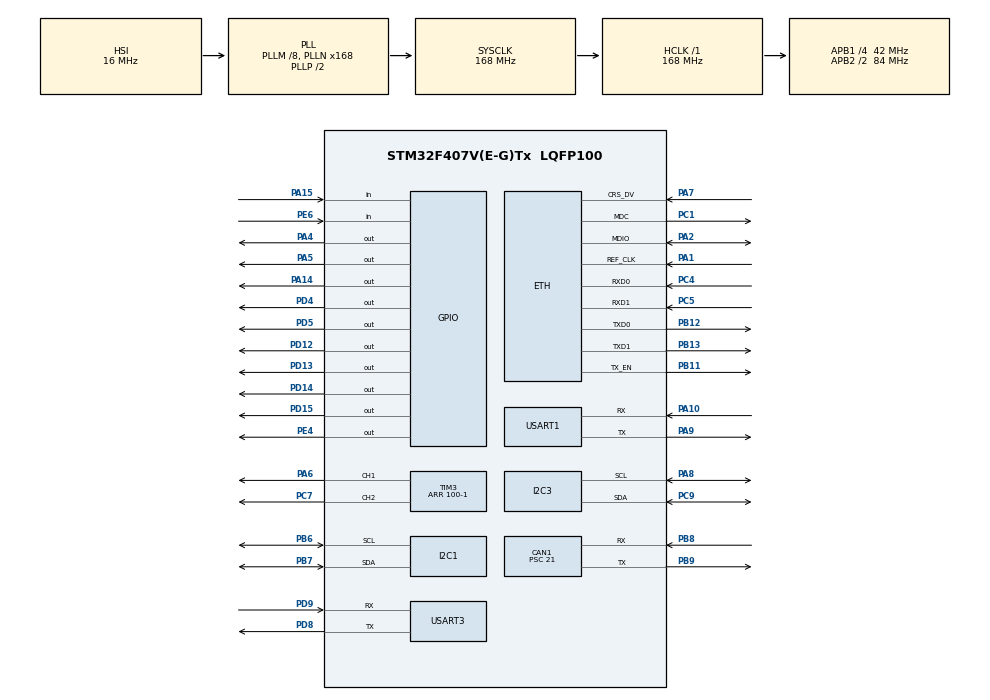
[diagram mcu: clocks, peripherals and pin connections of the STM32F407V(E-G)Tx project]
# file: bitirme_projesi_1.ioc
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CAN1.BS1=CAN_BS1_10TQ
CAN1.BS2=CAN_BS2_5TQ
CAN1.CalculateTimeQuantum=500.0
CAN1.Prescaler=21
ETH.MediaInterface=ETH_MEDIA_INTERFACE_RMII
FREERTOS.Tasks01=bmp180Task,0,128,bmp180_handlerTask,Default,NULL,Dynamic,NULL,NULL;hcsr04task,0,128,hcsr04_handlertask,Default,NULL,Dynamic,NULL,NULL;hcsr501task,-3,128,hcsr501handler_task,Default,NULL,Dynamic,NULL,NULL;dht11task,-3,128,dht11_handlertask,Default,NULL,Dynamic,NULL,NULL;dcmotor1task,-3,128,dcmotor1_handlertask,Default,NULL,Dynamic,NULL,NULL;dcmotor2task,-3,128,dcmotor2_handlertask,Default,NULL,Dynamic,NULL,NULL;nextionsenddata,-3,128,nextionsenddata_handlertask,Default,NULL,Dynamic,NULL,NULL;mpu6050task,-3,128,mpu6050_handlertask,Default,NULL,Dynamic,NULL,NULL;usbttl_tx_rx,-3,128,usbt_tx_rx_handlertask,Default,NULL,Dynamic,NULL,NULL;canbussendatata,-3,128,canbussendata_handlertask,Default,NULL,Dynamic,NULL,NULL;ethernet,-3,128,ethernet_handler,Default,NULL,Dynamic,NULL,NULL
LWIP.Version=v2.1.2_Cube
Mcu.Family=STM32F4
Mcu.Name=STM32F407V(E-G)Tx
Mcu.Package=LQFP100
NVIC.CAN1_RX0_IRQn=true\:5\:0\:false\:false\:true\:true\:true\:true
NVIC.PriorityGroup=NVIC_PRIORITYGROUP_4
NVIC.TIM5_IRQn=true\:0\:0\:false\:false\:true\:false\:false\:true
NVIC.TimeBase=TIM5_IRQn
NVIC.TimeBaseIP=TIM5
PA1.Mode=RMII
PA1.Signal=ETH_REF_CLK
PA10.Mode=Asynchronous
PA10.Signal=USART1_RX
PA14.Signal=GPIO_Output
PA15.Signal=GPIO_Input
PA2.Mode=RMII
PA2.Signal=ETH_MDIO
PA4.Signal=GPIO_Output
PA5.Signal=GPIO_Output
PA6.Signal=S_TIM3_CH1
PA7.Mode=RMII
PA7.Signal=ETH_CRS_DV
PA8.Mode=I2C
PA8.Signal=I2C3_SCL
PA9.Mode=Asynchronous
PA9.Signal=USART1_TX
PB11.Mode=RMII
PB11.Signal=ETH_TX_EN
PB12.Mode=RMII
PB12.Signal=ETH_TXD0
PB13.Mode=RMII
PB13.Signal=ETH_TXD1
PB6.Mode=I2C
PB6.Signal=I2C1_SCL
PB7.Mode=I2C
PB7.Signal=I2C1_SDA
PB8.Mode=Master
PB8.Signal=CAN1_RX
PB9.Mode=Master
PB9.Signal=CAN1_TX
PC1.Mode=RMII
PC1.Signal=ETH_MDC
PC4.Mode=RMII
PC4.Signal=ETH_RXD0
PC5.Mode=RMII
PC5.Signal=ETH_RXD1
PC7.Signal=S_TIM3_CH2
PC9.Mode=I2C
PC9.Signal=I2C3_SDA
PD12.Signal=GPIO_Output
PD13.Signal=GPIO_Output
PD14.Signal=GPIO_Output
PD15.Signal=GPIO_Output
PD4.Signal=GPIO_Output
PD5.Signal=GPIO_Output
PD8.Mode=Asynchronous
PD8.Signal=USART3_TX
PD9.Mode=Asynchronous
PD9.Signal=USART3_RX
PE4.Signal=GPIO_Output
PE6.Signal=GPIO_Input
PH0-OSC_IN.Mode=HSE-External-Oscillator
PH0-OSC_IN.Signal=RCC_OSC_IN
PH1-OSC_OUT.Mode=HSE-External-Oscillator
PH1-OSC_OUT.Signal=RCC_OSC_OUT
ProjectManager.HeapSize=0x200
ProjectManager.StackSize=0x400
ProjectManager.TargetToolchain=STM32CubeIDE
RCC.48MHZClocksFreq_Value=84000000
RCC.AHBFreq_Value=168000000
RCC.APB1CLKDivider=RCC_HCLK_DIV4
RCC.APB1Freq_Value=42000000
RCC.APB1TimFreq_Value=84000000
RCC.APB2CLKDivider=RCC_HCLK_DIV2
RCC.APB2Freq_Value=84000000
RCC.APB2TimFreq_Value=168000000
RCC.CortexFreq_Value=168000000
RCC.HCLKFreq_Value=168000000
RCC.HSE_VALUE=8000000
RCC.HSI_VALUE=16000000
RCC.LSE_VALUE=32768
RCC.PLLM=8
RCC.PLLN=168
RCC.SYSCLKFreq_VALUE=168000000
RCC.SYSCLKSource=RCC_SYSCLKSOURCE_PLLCLK
RCC.VCOOutputFreq_Value=336000000
SH.S_TIM3_CH1.0=TIM3_CH1,PWM Generation1 CH1
SH.S_TIM3_CH2.0=TIM3_CH2,PWM Generation2 CH2
TIM3.Channel-PWM\ Generation1\ CH1=TIM_CHANNEL_1
TIM3.Channel-PWM\ Generation2\ CH2=TIM_CHANNEL_2
TIM3.Period=100-1
TIM6.Period=0xffff-1
TIM6.Prescaler=84-1
USART1.VirtualMode=VM_ASYNC
USART3.VirtualMode=VM_ASYNC
VP_FREERTOS_VS_CMSIS_V1.Mode=CMSIS_V1
VP_LWIP_VS_Enabled.Mode=Enabled
VP_SYS_VS_tim5.Mode=TIM5
VP_TIM6_VS_ClockSourceINT.Mode=Enable_Timer
board=custom

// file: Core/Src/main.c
/* USER CODE BEGIN Header */
/**
  ******************************************************************************
  * @file           : main.c
  * @brief          : Main program body
  ******************************************************************************
  * @attention
  *
  * <h2><center>&copy; Copyright (c) 2021 STMicroelectronics.
  * All rights reserved.</center></h2>
  *
  * This software component is licensed by ST under BSD 3-Clause license,
  * the "License"; You may not use this file except in compliance with the
  * License. You may obtain a copy of the License at:
  *                        opensource.org/licenses/BSD-3-Clause
  *
  ******************************************************************************
  */
/* USER CODE END Header */

#include "main.h"
#include "cmsis_os.h"
#include "lwip.h"

/* USER CODE BEGIN Includes */
#include"tcp_echoserver.h"
#include"udp_echoserver.h"
#include"dwt_stm32_delay.h"
#include "BMP180.h"
#include "ssd1306.h"
#include "stdio.h"
#include"string.h"
#include"mpu6050.h"
#include "i2c-lcd.h"
#include "httpd.h"

/* USER CODE END Includes */

CAN_HandleTypeDef hcan1;

I2C_HandleTypeDef hi2c1;
I2C_HandleTypeDef hi2c3;

TIM_HandleTypeDef htim3;
TIM_HandleTypeDef htim6;

UART_HandleTypeDef huart1;
UART_HandleTypeDef huart3;

osThreadId bmp180TaskHandle;
osThreadId hcsr04taskHandle;
osThreadId hcsr501taskHandle;
osThreadId dht11taskHandle;
osThreadId dcmotor1taskHandle;
osThreadId dcmotor2taskHandle;
osThreadId nextionsenddataHandle;
osThreadId mpu6050taskHandle;
osThreadId usbttl_tx_rxHandle;
osThreadId canbussendatataHandle;
osThreadId ethernetHandle;
uint32_t sensor_time;
float distance;
uint16_t pulse;
uint32_t mTxMailbox;
CAN_TxHeaderTypeDef pTxHeader;
CAN_FilterTypeDef sFilterConfig;
uint8_t cmdend[3]= {0xFF ,0xFF ,0xFF};
MPU6050_t MPU6050;
uint8_t rx_buffer[50], tx_buffer[50];
/* USER CODE BEGIN PV */

//const char* LedCGIhandler(int iIndex, int iNumParams, char *pcParam[], char *pcValue[]);
//const tCGI LedCGI = { "/leds.cgi", LedCGIhandler };
//tCGI theCGItable[1];
/* USER CODE END PV */

void SystemClock_Config(void);
static void MX_GPIO_Init(void);
static void MX_I2C1_Init(void);
static void MX_I2C3_Init(void);
static void MX_USART3_UART_Init(void);
static void MX_CAN1_Init(void);
static void MX_USART1_UART_Init(void);
static void MX_TIM3_Init(void);
static void MX_TIM6_Init(void);
void bmp180_handlerTask(void const * argument);
void hcsr04_handlertask(void const * argument);
void hcsr501handler_task(void const * argument);
void dht11_handlertask(void const * argument);
void dcmotor1_handlertask(void const * argument);
void dcmotor2_handlertask(void const * argument);
void nextionsenddata_handlertask(void const * argument);
void mpu6050_handlertask(void const * argument);
void usbt_tx_rx_handlertask(void const * argument);
void canbussendata_handlertask(void const * argument);
void ethernet_handler(void const * argument);

/* USER CODE BEGIN 0 */
float sicaklik = 0;
float basinc = 0;
float yukseklik= 0;

char sicaklik1[10];
char basinc1[10];
char yukseklik1[10];
uint8_t durum=0,Humidity=0,Temperature=0;
uint16_t tempVal=0,humVal=0;
uint8_t dhtVal[2];
uint8_t mData[40];
uint16_t mTime1 = 0, mTime2 = 0;
uint16_t mbit = 0;
uint8_t  parityVal = 0, genParity = 0;
uint8_t mymessage[50];

 CAN_TxHeaderTypeDef pTxHeader;
 uint32_t pTxMailbox;
CAN_RxHeaderTypeDef pRxHeader;
 uint8_t count;
/* USER CODE END 0 */

int main(void)
{
  /* USER CODE BEGIN 1 */

	const char* LedCGIhandler(int iIndex, int iNumParams, char *pcParam[], char *pcValue[])
	{
	    uint32_t i = 0;

	    if (iIndex == 0) {

	        //turning the LED lights off
	        HAL_GPIO_WritePin(GPIOD, GPIO_PIN_15, GPIO_PIN_RESET);
	        HAL_GPIO_WritePin(GPIOD, GPIO_PIN_14, GPIO_PIN_RESET);

	    }

	    for (i = 0; i < iNumParams; i++) {

	        if (strcmp(pcParam[i], "led") == 0)

	        {

	            if (strcmp(pcValue[i], "1") == 0) {
	                HAL_GPIO_WritePin(GPIOD, GPIO_PIN_15, GPIO_PIN_SET);
	            }

	            else if (strcmp(pcValue[i], "2") == 0) {

	                HAL_GPIO_WritePin(GPIOD, GPIO_PIN_14, GPIO_PIN_SET);

	            }

	        }

	    }
	    return "/index2.html";
	}

  /* USER CODE END 1 */

  /* MCU Configuration--------------------------------------------------------*/

  /* Reset of all peripherals, Initializes the Flash interface and the Systick. */
  HAL_Init();

  /* Configure the system clock */
  SystemClock_Config();

  /* Initialize all configured peripherals */
  MX_GPIO_Init();
  MX_I2C1_Init();
  MX_I2C3_Init();
  MX_USART3_UART_Init();
  MX_CAN1_Init();
  MX_USART1_UART_Init();
  MX_TIM3_Init();
  MX_TIM6_Init();
  /* USER CODE BEGIN 2 */
  HAL_TIM_PWM_Start(&htim3, TIM_CHANNEL_1);
  HAL_TIM_PWM_Start(&htim3, TIM_CHANNEL_2);
  HAL_CAN_Start(&hcan1);
  HAL_TIM_Base_Start(&htim6);
  //theCGItable[0] = LedCGI;
 // http_set_cgi_handlers(theCGItable, 1);
  /* USER CODE END 2 */

  /* Create the thread(s) */
  /* definition and creation of bmp180Task */
  osThreadDef(bmp180Task, bmp180_handlerTask, osPriorityNormal, 0, 128);
  bmp180TaskHandle = osThreadCreate(osThread(bmp180Task), NULL);

  /* definition and creation of hcsr04task */
  osThreadDef(hcsr04task, hcsr04_handlertask, osPriorityNormal, 0, 128);
  hcsr04taskHandle = osThreadCreate(osThread(hcsr04task), NULL);

  /* definition and creation of hcsr501task */
  osThreadDef(hcsr501task, hcsr501handler_task, osPriorityIdle, 0, 128);
  hcsr501taskHandle = osThreadCreate(osThread(hcsr501task), NULL);

  /* definition and creation of dht11task */
  osThreadDef(dht11task, dht11_handlertask, osPriorityIdle, 0, 128);
  dht11taskHandle = osThreadCreate(osThread(dht11task), NULL);

  /* definition and creation of dcmotor1task */
  osThreadDef(dcmotor1task, dcmotor1_handlertask, osPriorityIdle, 0, 128);
  dcmotor1taskHandle = osThreadCreate(osThread(dcmotor1task), NULL);

  /* definition and creation of dcmotor2task */
  osThreadDef(dcmotor2task, dcmotor2_handlertask, osPriorityIdle, 0, 128);
  dcmotor2taskHandle = osThreadCreate(osThread(dcmotor2task), NULL);

  /* definition and creation of nextionsenddata */
  osThreadDef(nextionsenddata, nextionsenddata_handlertask, osPriorityIdle, 0, 128);
  nextionsenddataHandle = osThreadCreate(osThread(nextionsenddata), NULL);

  /* definition and creation of mpu6050task */
  osThreadDef(mpu6050task, mpu6050_handlertask, osPriorityIdle, 0, 128);
  mpu6050taskHandle = osThreadCreate(osThread(mpu6050task), NULL);

  /* definition and creation of usbttl_tx_rx */
  osThreadDef(usbttl_tx_rx, usbt_tx_rx_handlertask, osPriorityIdle, 0, 128);
  usbttl_tx_rxHandle = osThreadCreate(osThread(usbttl_tx_rx), NULL);

  /* definition and creation of canbussendatata */
  osThreadDef(canbussendatata, canbussendata_handlertask, osPriorityIdle, 0, 128);
  canbussendatataHandle = osThreadCreate(osThread(canbussendatata), NULL);

  /* definition and creation of ethernet */
  osThreadDef(ethernet, ethernet_handler, osPriorityIdle, 0, 128);
  ethernetHandle = osThreadCreate(osThread(ethernet), NULL);

  /* Start scheduler */
  osKernelStart();

  /* We should never get here as control is now taken by the scheduler */
  /* Infinite loop */
  while (1)
  {

  }
}

void SystemClock_Config(void)
{
  RCC_OscInitTypeDef RCC_OscInitStruct = {0};
  RCC_ClkInitTypeDef RCC_ClkInitStruct = {0};

  /** Configure the main internal regulator output voltage
  */
  __HAL_RCC_PWR_CLK_ENABLE();
  __HAL_PWR_VOLTAGESCALING_CONFIG(PWR_REGULATOR_VOLTAGE_SCALE1);
  /** Initializes the CPU, AHB and APB busses clocks
  */
  RCC_OscInitStruct.OscillatorType = RCC_OSCILLATORTYPE_HSI;
  RCC_OscInitStruct.HSIState = RCC_HSI_ON;
  RCC_OscInitStruct.HSICalibrationValue = RCC_HSICALIBRATION_DEFAULT;
  RCC_OscInitStruct.PLL.PLLState = RCC_PLL_ON;
  RCC_OscInitStruct.PLL.PLLSource = RCC_PLLSOURCE_HSI;
  RCC_OscInitStruct.PLL.PLLM = 8;
  RCC_OscInitStruct.PLL.PLLN = 168;
  RCC_OscInitStruct.PLL.PLLP = RCC_PLLP_DIV2;
  RCC_OscInitStruct.PLL.PLLQ = 4;
  if (HAL_RCC_OscConfig(&RCC_OscInitStruct) != HAL_OK)
  {
    Error_Handler();
  }
  /** Initializes the CPU, AHB and APB busses clocks
  */
  RCC_ClkInitStruct.ClockType = RCC_CLOCKTYPE_HCLK|RCC_CLOCKTYPE_SYSCLK
                              |RCC_CLOCKTYPE_PCLK1|RCC_CLOCKTYPE_PCLK2;
  RCC_ClkInitStruct.SYSCLKSource = RCC_SYSCLKSOURCE_PLLCLK;
  RCC_ClkInitStruct.AHBCLKDivider = RCC_SYSCLK_DIV1;
  RCC_ClkInitStruct.APB1CLKDivider = RCC_HCLK_DIV4;
  RCC_ClkInitStruct.APB2CLKDivider = RCC_HCLK_DIV2;

  if (HAL_RCC_ClockConfig(&RCC_ClkInitStruct, FLASH_LATENCY_5) != HAL_OK)
  {
    Error_Handler();
  }
}

static void MX_CAN1_Init(void)
{

  hcan1.Instance = CAN1;
  hcan1.Init.Prescaler = 21;
  hcan1.Init.Mode = CAN_MODE_NORMAL;
  hcan1.Init.SyncJumpWidth = CAN_SJW_1TQ;
  hcan1.Init.TimeSeg1 = CAN_BS1_10TQ;
  hcan1.Init.TimeSeg2 = CAN_BS2_5TQ;
  hcan1.Init.TimeTriggeredMode = DISABLE;
  hcan1.Init.AutoBusOff = DISABLE;
  hcan1.Init.AutoWakeUp = DISABLE;
  hcan1.Init.AutoRetransmission = DISABLE;
  hcan1.Init.ReceiveFifoLocked = DISABLE;
  hcan1.Init.TransmitFifoPriority = DISABLE;
  if (HAL_CAN_Init(&hcan1) != HAL_OK)
  {
    Error_Handler();
  }

}

static void MX_I2C1_Init(void)
{

  hi2c1.Instance = I2C1;
  hi2c1.Init.ClockSpeed = 100000;
  hi2c1.Init.DutyCycle = I2C_DUTYCYCLE_2;
  hi2c1.Init.OwnAddress1 = 0;
  hi2c1.Init.AddressingMode = I2C_ADDRESSINGMODE_7BIT;
  hi2c1.Init.DualAddressMode = I2C_DUALADDRESS_DISABLE;
  hi2c1.Init.OwnAddress2 = 0;
  hi2c1.Init.GeneralCallMode = I2C_GENERALCALL_DISABLE;
  hi2c1.Init.NoStretchMode = I2C_NOSTRETCH_DISABLE;
  if (HAL_I2C_Init(&hi2c1) != HAL_OK)
  {
    Error_Handler();
  }

}

static void MX_I2C3_Init(void)
{

  hi2c3.Instance = I2C3;
  hi2c3.Init.ClockSpeed = 100000;
  hi2c3.Init.DutyCycle = I2C_DUTYCYCLE_2;
  hi2c3.Init.OwnAddress1 = 0;
  hi2c3.Init.AddressingMode = I2C_ADDRESSINGMODE_7BIT;
  hi2c3.Init.DualAddressMode = I2C_DUALADDRESS_DISABLE;
  hi2c3.Init.OwnAddress2 = 0;
  hi2c3.Init.GeneralCallMode = I2C_GENERALCALL_DISABLE;
  hi2c3.Init.NoStretchMode = I2C_NOSTRETCH_DISABLE;
  if (HAL_I2C_Init(&hi2c3) != HAL_OK)
  {
    Error_Handler();
  }

}

static void MX_TIM3_Init(void)
{

  TIM_MasterConfigTypeDef sMasterConfig = {0};
  TIM_OC_InitTypeDef sConfigOC = {0};

  htim3.Instance = TIM3;
  htim3.Init.Prescaler = 0;
  htim3.Init.CounterMode = TIM_COUNTERMODE_UP;
  htim3.Init.Period = 100-1;
  htim3.Init.ClockDivision = TIM_CLOCKDIVISION_DIV1;
  htim3.Init.AutoReloadPreload = TIM_AUTORELOAD_PRELOAD_DISABLE;
  if (HAL_TIM_PWM_Init(&htim3) != HAL_OK)
  {
    Error_Handler();
  }
  sMasterConfig.MasterOutputTrigger = TIM_TRGO_RESET;
  sMasterConfig.MasterSlaveMode = TIM_MASTERSLAVEMODE_DISABLE;
  if (HAL_TIMEx_MasterConfigSynchronization(&htim3, &sMasterConfig) != HAL_OK)
  {
    Error_Handler();
  }
  sConfigOC.OCMode = TIM_OCMODE_PWM1;
  sConfigOC.Pulse = 0;
  sConfigOC.OCPolarity = TIM_OCPOLARITY_HIGH;
  sConfigOC.OCFastMode = TIM_OCFAST_DISABLE;
  if (HAL_TIM_PWM_ConfigChannel(&htim3, &sConfigOC, TIM_CHANNEL_1) != HAL_OK)
  {
    Error_Handler();
  }
  if (HAL_TIM_PWM_ConfigChannel(&htim3, &sConfigOC, TIM_CHANNEL_2) != HAL_OK)
  {
    Error_Handler();
  }
  HAL_TIM_MspPostInit(&htim3);

}

static void MX_TIM6_Init(void)
{

  TIM_MasterConfigTypeDef sMasterConfig = {0};

  htim6.Instance = TIM6;
  htim6.Init.Prescaler = 84-1;
  htim6.Init.CounterMode = TIM_COUNTERMODE_UP;
  htim6.Init.Period = 0xffff-1;
  htim6.Init.AutoReloadPreload = TIM_AUTORELOAD_PRELOAD_DISABLE;
  if (HAL_TIM_Base_Init(&htim6) != HAL_OK)
  {
    Error_Handler();
  }
  sMasterConfig.MasterOutputTrigger = TIM_TRGO_RESET;
  sMasterConfig.MasterSlaveMode = TIM_MASTERSLAVEMODE_DISABLE;
  if (HAL_TIMEx_MasterConfigSynchronization(&htim6, &sMasterConfig) != HAL_OK)
  {
    Error_Handler();
  }

}

static void MX_USART1_UART_Init(void)
{

  huart1.Instance = USART1;
  huart1.Init.BaudRate = 115200;
  huart1.Init.WordLength = UART_WORDLENGTH_8B;
  huart1.Init.StopBits = UART_STOPBITS_1;
  huart1.Init.Parity = UART_PARITY_NONE;
  huart1.Init.Mode = UART_MODE_TX_RX;
  huart1.Init.HwFlowCtl = UART_HWCONTROL_NONE;
  huart1.Init.OverSampling = UART_OVERSAMPLING_16;
  if (HAL_UART_Init(&huart1) != HAL_OK)
  {
    Error_Handler();
  }

}

static void MX_USART3_UART_Init(void)
{

  huart3.Instance = USART3;
  huart3.Init.BaudRate = 115200;
  huart3.Init.WordLength = UART_WORDLENGTH_8B;
  huart3.Init.StopBits = UART_STOPBITS_1;
  huart3.Init.Parity = UART_PARITY_NONE;
  huart3.Init.Mode = UART_MODE_TX_RX;
  huart3.Init.HwFlowCtl = UART_HWCONTROL_NONE;
  huart3.Init.OverSampling = UART_OVERSAMPLING_16;
  if (HAL_UART_Init(&huart3) != HAL_OK)
  {
    Error_Handler();
  }

}

static void MX_GPIO_Init(void)
{
  GPIO_InitTypeDef GPIO_InitStruct = {0};

  /* GPIO Ports Clock Enable */
  __HAL_RCC_GPIOE_CLK_ENABLE();
  __HAL_RCC_GPIOH_CLK_ENABLE();
  __HAL_RCC_GPIOC_CLK_ENABLE();
  __HAL_RCC_GPIOA_CLK_ENABLE();
  __HAL_RCC_GPIOB_CLK_ENABLE();
  __HAL_RCC_GPIOD_CLK_ENABLE();

  /*Configure GPIO pin Output Level */
  HAL_GPIO_WritePin(GPIOE, GPIO_PIN_4, GPIO_PIN_RESET);

  /*Configure GPIO pin Output Level */
  HAL_GPIO_WritePin(GPIOA, GPIO_PIN_4|GPIO_PIN_5|GPIO_PIN_14, GPIO_PIN_RESET);

  /*Configure GPIO pin Output Level */
  HAL_GPIO_WritePin(GPIOD, GPIO_PIN_12|GPIO_PIN_13|GPIO_PIN_14|GPIO_PIN_15
                          |GPIO_PIN_4|GPIO_PIN_5, GPIO_PIN_RESET);

  /*Configure GPIO pin : PE4 */
  GPIO_InitStruct.Pin = GPIO_PIN_4;
  GPIO_InitStruct.Mode = GPIO_MODE_OUTPUT_PP;
  GPIO_InitStruct.Pull = GPIO_NOPULL;
  GPIO_InitStruct.Speed = GPIO_SPEED_FREQ_LOW;
  HAL_GPIO_Init(GPIOE, &GPIO_InitStruct);

  /*Configure GPIO pin : PE6 */
  GPIO_InitStruct.Pin = GPIO_PIN_6;
  GPIO_InitStruct.Mode = GPIO_MODE_INPUT;
  GPIO_InitStruct.Pull = GPIO_NOPULL;
  HAL_GPIO_Init(GPIOE, &GPIO_InitStruct);

  /*Configure GPIO pins : PA4 PA5 PA14 */
  GPIO_InitStruct.Pin = GPIO_PIN_4|GPIO_PIN_5|GPIO_PIN_14;
  GPIO_InitStruct.Mode = GPIO_MODE_OUTPUT_PP;
  GPIO_InitStruct.Pull = GPIO_NOPULL;
  GPIO_InitStruct.Speed = GPIO_SPEED_FREQ_LOW;
  HAL_GPIO_Init(GPIOA, &GPIO_InitStruct);

  /*Configure GPIO pins : PD12 PD13 PD14 PD15
                           PD4 PD5 */
  GPIO_InitStruct.Pin = GPIO_PIN_12|GPIO_PIN_13|GPIO_PIN_14|GPIO_PIN_15
                          |GPIO_PIN_4|GPIO_PIN_5;
  GPIO_InitStruct.Mode = GPIO_MODE_OUTPUT_PP;
  GPIO_InitStruct.Pull = GPIO_NOPULL;
  GPIO_InitStruct.Speed = GPIO_SPEED_FREQ_LOW;
  HAL_GPIO_Init(GPIOD, &GPIO_InitStruct);

  /*Configure GPIO pin : PA15 */
  GPIO_InitStruct.Pin = GPIO_PIN_15;
  GPIO_InitStruct.Mode = GPIO_MODE_INPUT;
  GPIO_InitStruct.Pull = GPIO_NOPULL;
  HAL_GPIO_Init(GPIOA, &GPIO_InitStruct);

}

/* USER CODE BEGIN 4 */
void ileri_motor1(int s)
{

	  TIM3->CCR1=s;
	  HAL_GPIO_WritePin(GPIOD, GPIO_PIN_4, GPIO_PIN_SET);
	  HAL_GPIO_WritePin(GPIOD, GPIO_PIN_5, GPIO_PIN_RESET);

}

void geri_motor1(int s)
{

	  TIM3->CCR1=s;
	  HAL_GPIO_WritePin(GPIOD, GPIO_PIN_4, GPIO_PIN_RESET);
	  HAL_GPIO_WritePin(GPIOD, GPIO_PIN_5, GPIO_PIN_SET);

}

void dur_motor1()
{

	  TIM3->CCR1=0;
	  HAL_GPIO_WritePin(GPIOD, GPIO_PIN_4, GPIO_PIN_RESET);
	  HAL_GPIO_WritePin(GPIOD, GPIO_PIN_5, GPIO_PIN_RESET);

}

void ileri_motor2(int a)
{

	  TIM3->CCR2=a;
	  HAL_GPIO_WritePin(GPIOA, GPIO_PIN_4, GPIO_PIN_SET);
	  HAL_GPIO_WritePin(GPIOA, GPIO_PIN_5, GPIO_PIN_RESET);

}

void geri_motor2(int a)
{

	  TIM3->CCR2=a;
	  HAL_GPIO_WritePin(GPIOA, GPIO_PIN_4, GPIO_PIN_RESET);
	  HAL_GPIO_WritePin(GPIOA, GPIO_PIN_5, GPIO_PIN_SET);

}

void dur_motor2()
{

	  TIM3->CCR2=0;
	  HAL_GPIO_WritePin(GPIOA, GPIO_PIN_4, GPIO_PIN_RESET);
	  HAL_GPIO_WritePin(GPIOA, GPIO_PIN_5, GPIO_PIN_RESET);

}

/* USER CODE END 4 */

void bmp180_handlerTask(void const * argument)
{
  /* init code for LWIP */
  MX_LWIP_Init();
  /* USER CODE BEGIN 5 */
  /* Infinite loop */
	BMP180_Start();

	  SSD1306_Init();

	  SSD1306_GotoXY (35,0);
	  SSD1306_Puts ("BMP180", &Font_11x18, 1);
	  SSD1306_GotoXY (10,20);
	  SSD1306_Puts ("Barometric", &Font_11x18, 1);
	  SSD1306_GotoXY (30,40);
	  SSD1306_Puts ("Sensor", &Font_11x18, 1);
	  SSD1306_GotoXY (20,40);
	  SSD1306_UpdateScreen(); //display
	  HAL_Delay(2000);
	  SSD1306_Clear();
  for(;;)
  {
	  float sicaklik = 0;
	  float basinc = 0;
	  float yukseklik= 0;

	  	  sicaklik = BMP180_GetTemp();

	  	  basinc = BMP180_GetPress (0);

	  	  yukseklik = BMP180_GetAlt(0);

	     SSD1306_GotoXY (35,0);
	     SSD1306_Puts ("BMP180", &Font_11x18, 1);
	     SSD1306_GotoXY (0,0);
	     SSD1306_Puts ("sicaklik", &Font_11x18, 1);
	     SSD1306_GotoXY (20,40);
	     sprintf(sicaklik1, "%.2f", sicaklik);
	     SSD1306_Puts(sicaklik1, &Font_11x18, 1);
	     SSD1306_DrawCircle(80, 40, 2, 1);  //To print degree only
	     SSD1306_GotoXY (85,40);  //To print celcius
	     SSD1306_Puts ("C", &Font_11x18, 1);
	     SSD1306_UpdateScreen(); //display
	     HAL_Delay(2000);
	     SSD1306_Clear();

	     SSD1306_GotoXY (20,0);
	     SSD1306_Puts ("basinc", &Font_11x18, 1);
	     SSD1306_GotoXY (10,40);
	     sprintf(basinc1, "%.2f", basinc);
	     SSD1306_Puts(basinc1, &Font_11x18, 1);
	     SSD1306_GotoXY (100,40);
	     SSD1306_Puts ("pa", &Font_11x18, 1);
	     SSD1306_UpdateScreen(); //display
	     HAL_Delay(2000);
	     SSD1306_Clear();

	     SSD1306_GotoXY (20,0);
	     SSD1306_Puts ("yukseklik", &Font_11x18, 1);
	     SSD1306_GotoXY (15,40);
	     sprintf(yukseklik1, "%.2f", yukseklik);
	     SSD1306_Puts(yukseklik1, &Font_11x18, 1);
	     SSD1306_GotoXY (90,40);
	     SSD1306_Puts ("m", &Font_11x18, 1);
	     SSD1306_UpdateScreen(); //display
	     HAL_Delay(2000);
	     SSD1306_Clear();

	     HAL_Delay (2000);
    osDelay(1);
  }
  /* USER CODE END 5 */
}

void hcsr04_handlertask(void const * argument)
{
  /* USER CODE BEGIN hcsr04_handlertask */

  /* Infinite loop */
	{
		uint32_t local_time=0;
		HAL_GPIO_WritePin(GPIOA, GPIO_PIN_14, GPIO_PIN_SET);
		DWT_Delay_us(10);
		HAL_GPIO_WritePin(GPIOA, GPIO_PIN_14, GPIO_PIN_RESET);

		while(!HAL_GPIO_ReadPin(GPIOA, GPIO_PIN_15));

		while(HAL_GPIO_ReadPin(GPIOA, GPIO_PIN_15))
		{
			local_time++;
			DWT_Delay_us(1);
		}
		return local_time;

	}

  for(;;)
  {
	  sensor_time=Read_HCSR04();
	  distance=sensor_time/58;

  	  if(distance>6 && distance<12)

    osDelay(1);
  }
  /* USER CODE END hcsr04_handlertask */
}

void hcsr501handler_task(void const * argument)
{
  /* USER CODE BEGIN hcsr501handler_task */
  /* Infinite loop */
  for(;;)
  {
	  if(HAL_GPIO_ReadPin(GPIOE, GPIO_PIN_6==GPIO_PIN_SET))
	  {
   		  HAL_UART_Transmit(&huart3, (uint8_t*)tx_buffer, sprintf(tx_buffer,"1. ve 2. motorlar durduruldu. "), 100);
   		  HAL_GPIO_TogglePin(GPIOD, GPIO_PIN_12 | GPIO_PIN_13 | GPIO_PIN_14 | GPIO_PIN_15);

   		  dur_motor1();
   		  dur_motor2();
	  }
    osDelay(1);
  }
  /* USER CODE END hcsr501handler_task */
}

void dht11_handlertask(void const * argument)
{
  /* USER CODE BEGIN dht11_handlertask */
  /* Infinite loop */
	void delay(uint16_t time){

	   __HAL_TIM_SET_COUNTER(&htim6,0);

	   while(__HAL_TIM_GET_COUNTER(&htim6)< time);

	}

	void Set_Pin_Output(GPIO_TypeDef *GPIOx, uint16_t GPIO_Pin){

	   GPIO_InitTypeDef DHT11_DATA={0};

	   DHT11_DATA.Pin=GPIO_Pin;
	   DHT11_DATA.Mode=GPIO_MODE_OUTPUT_PP;
	   DHT11_DATA.Pull=GPIO_NOPULL;
	   DHT11_DATA.Speed=GPIO_SPEED_FREQ_LOW;

	   HAL_GPIO_Init(GPIOx,&DHT11_DATA);

	}

	void Set_Pin_Input(GPIO_TypeDef *GPIOx, uint16_t GPIO_Pin){

	   GPIO_InitTypeDef DHT11_DATA={0};

	   DHT11_DATA.Pin=GPIO_Pin;
	   DHT11_DATA.Mode=GPIO_MODE_INPUT;
	   DHT11_DATA.Pull=GPIO_NOPULL;
	   DHT11_DATA.Speed=GPIO_SPEED_FREQ_LOW;

	   HAL_GPIO_Init(GPIOx,&DHT11_DATA);

	}

	#define DHT11_PORT GPIOE
	#define DHT11_PIN GPIO_PIN_6

	uint8_t DHT11_Read (void){

	  for(int a=0;a<40;a++) mData[a]=0;
	   mTime1 = 0, mTime2 = 0, durum=0, tempVal=0, humVal=0, parityVal = 0, genParity = 0,  mbit = 0;

	     Set_Pin_Output(DHT11_PORT,DHT11_PIN);
	    HAL_GPIO_WritePin(DHT11_PORT,DHT11_PIN,GPIO_PIN_RESET);
	    delay(18000);
	      Set_Pin_Input(DHT11_PORT,DHT11_PIN);

	    __HAL_TIM_SET_COUNTER(&htim6, 0);
	   while(HAL_GPIO_ReadPin(DHT11_PORT, DHT11_PIN) == GPIO_PIN_SET) if((uint16_t)__HAL_TIM_GET_COUNTER(&htim6) > 500) return 0;

	   __HAL_TIM_SET_COUNTER(&htim6, 0);
	   while(HAL_GPIO_ReadPin(DHT11_PORT, DHT11_PIN) == GPIO_PIN_RESET) if((uint16_t)__HAL_TIM_GET_COUNTER(&htim6) > 500) return 0;
	   mTime1 = (uint16_t)__HAL_TIM_GET_COUNTER(&htim6);

	   __HAL_TIM_SET_COUNTER(&htim6, 0);
	   while(HAL_GPIO_ReadPin(DHT11_PORT, DHT11_PIN) == GPIO_PIN_SET) if((uint16_t)__HAL_TIM_GET_COUNTER(&htim6) > 500) return 0;
	    mTime2 = (uint16_t)__HAL_TIM_GET_COUNTER(&htim6);

	   if(mTime1 < 75 && mTime1 > 85 && mTime2 < 75 && mTime2 > 85)
	   {

	      return 0;
	   }

	   for(int j = 0; j < 40; j++)
	   {
	      __HAL_TIM_SET_COUNTER(&htim6, 0);
	      while(HAL_GPIO_ReadPin(DHT11_PORT, DHT11_PIN) == GPIO_PIN_RESET) if((uint16_t)__HAL_TIM_GET_COUNTER(&htim6) > 500) return 0;
	      __HAL_TIM_SET_COUNTER(&htim6, 0);
	      while(HAL_GPIO_ReadPin(DHT11_PORT, DHT11_PIN) == GPIO_PIN_SET) if((uint16_t)__HAL_TIM_GET_COUNTER(&htim6) > 500) return 0;
	      mTime1 = (uint16_t)__HAL_TIM_GET_COUNTER(&htim6);

	      if(mTime1 > 20 && mTime1 < 30)
	      {
	         mbit = 0;
	      }
	      else if(mTime1 > 60 && mTime1 < 80)
	      {
	          mbit = 1;
	      }

	      mData[j] = mbit;

	   }

	   for(int i = 0; i < 8; i++)
	   {
	      humVal += mData[i];
	      humVal = humVal << 1;
	   }

	   for(int i = 16; i < 24; i++)
	   {
	      tempVal += mData[i];
	      tempVal = tempVal << 1;
	   }

	   for(int i = 32; i < 40; i++)
	   {
	      parityVal += mData[i];
	      parityVal = parityVal << 1;
	   }

	   parityVal = parityVal >> 1;
	   humVal = humVal >> 1;
	   tempVal = tempVal >> 1;

	   genParity = humVal + tempVal;

	   dhtVal[0]= tempVal;
	   dhtVal[1] = humVal;

	   return 1;
	}
  for(;;)
  {
	durum=DHT11_Read();
	if (durum ==1)   {Temperature=tempVal; Humidity=humVal;}
	HAL_Delay(1000);
    osDelay(1);
  }
  /* USER CODE END dht11_handlertask */
}

void dcmotor1_handlertask(void const * argument)
{
  /* USER CODE BEGIN dcmotor1_handlertask */
  /* Infinite loop */

  for(;;)
  {
	  ileri_motor1(85);
	  osDelay(1000);
	  geri_motor1(85);
	  osDelay(1000);

  }
  /* USER CODE END dcmotor1_handlertask */
}

void dcmotor2_handlertask(void const * argument)
{
  /* USER CODE BEGIN dcmotor2_handlertask */
  /* Infinite loop */
  for(;;)
  {
	  ileri_motor2(85);
	  osDelay(1000);
	  geri_motor2(85);
	  osDelay(1000);
  }
  /* USER CODE END dcmotor2_handlertask */
}

void nextionsenddata_handlertask(void const * argument)
{
  /* USER CODE BEGIN nextionsenddata_handlertask */
  /* Infinite loop */
	void NEXTION_SendFloat (char *obj, float num, int dp)
	{

	   uint8_t *buffer = malloc(30*sizeof (char));
	   int len = sprintf ((char *)mymessage, "%s.vvs1=%d", obj, dp);
	   HAL_UART_Transmit(&huart1, buffer, len, 1000);
	   HAL_UART_Transmit(&huart1, cmdend, 3, 100);

	   int32_t number = num*(pow(10,dp));
	   len = sprintf ((char *)mymessage, "%s.val=%ld", obj, number);
	   HAL_UART_Transmit(&huart1, mymessage, len, 1000);
	   HAL_UART_Transmit(&huart1, cmdend, 3, 100);
	   free(buffer);
	}
  for(;;)
  {

	  sprintf((char*)mymessage,"n0.val=%d",distance);
	  	  HAL_UART_Transmit(&huart1, mymessage, strlen(mymessage), 100);
	  	  HAL_UART_Transmit(&huart1, cmdend, 3, 100);
	  	  NEXTION_SendFloat("x0", sicaklik, 3);

    osDelay(1);
  }
  /* USER CODE END nextionsenddata_handlertask */
}

void mpu6050_handlertask(void const * argument)
{
  /* USER CODE BEGIN mpu6050_handlertask */
  /* Infinite loop */
	  while (MPU6050_Init(&hi2c1) == 1);
  for(;;)
  {
	  MPU6050_Read_All(&hi2c1, &MPU6050);
	  HAL_Delay (100);
    osDelay(1);
  }
  /* USER CODE END mpu6050_handlertask */
}

void usbt_tx_rx_handlertask(void const * argument)
{
  /* USER CODE BEGIN usbt_tx_rx_handlertask */
  /* Infinite loop */
  for(;;)
  {HAL_UART_Receive(&huart3, (uint8_t*)rx_buffer, 50, 100);

  if(rx_buffer[0] =='m' &&  rx_buffer[1] =='o' &&   rx_buffer[2] =='t' &&   rx_buffer[3] =='o' &&
		  rx_buffer[4] =='r' && rx_buffer[5] =='1' &&  rx_buffer[6] ==' ' &&   rx_buffer[7] =='i' &&
		  rx_buffer[8] =='l' &&   rx_buffer[9] =='e' &&   rx_buffer[10] =='r' &&   rx_buffer[11] =='i' )
  {

	  HAL_UART_Transmit(&huart3, (uint8_t*)tx_buffer, sprintf(tx_buffer,"1. motor ileri calisti. "), 100);
	  HAL_GPIO_TogglePin(GPIOD, GPIO_PIN_12);
	  ileri_motor1(85);

  }

  if(rx_buffer[0] =='m' &&  rx_buffer[1] =='o' &&   rx_buffer[2] =='t' &&   rx_buffer[3] =='o' &&
		  rx_buffer[4] =='r' && rx_buffer[5] =='1' &&  rx_buffer[6] ==' ' &&   rx_buffer[7] =='g' &&
		  rx_buffer[8] =='e' &&   rx_buffer[9] =='r' &&   rx_buffer[10] =='i' )
  {

	  HAL_UART_Transmit(&huart3, (uint8_t*)tx_buffer, sprintf(tx_buffer,"1. motor geri calisti. "), 100);
	  HAL_GPIO_WritePin(GPIOD, GPIO_PIN_12, GPIO_PIN_RESET);

	  geri_motor1(85);

  }

  if(rx_buffer[0] =='m' &&  rx_buffer[1] =='o' &&   rx_buffer[2] =='t' &&   rx_buffer[3] =='o' &&
		  rx_buffer[4] =='r' && rx_buffer[5] =='2' &&  rx_buffer[6] ==' ' &&   rx_buffer[7] =='i' &&
		  rx_buffer[8] =='l' &&   rx_buffer[9] =='e' &&   rx_buffer[10] =='r' &&   rx_buffer[11] =='i' )
  {

	  HAL_UART_Transmit(&huart3, (uint8_t*)tx_buffer, sprintf(tx_buffer,"2. motor ileri calisti. "), 100);
	  ileri_motor2(85);
	  HAL_GPIO_TogglePin(GPIOD, GPIO_PIN_13);

  }

  if(rx_buffer[0] =='m' &&  rx_buffer[1] =='o' &&   rx_buffer[2] =='t' &&   rx_buffer[3] =='o' &&
		  rx_buffer[4] =='r' && rx_buffer[5] =='2' &&  rx_buffer[6] ==' ' &&   rx_buffer[7] =='g' &&
		  rx_buffer[8] =='e' &&   rx_buffer[9] =='r' &&   rx_buffer[10] =='i' )
  {

	  HAL_UART_Transmit(&huart3, (uint8_t*)tx_buffer, sprintf(tx_buffer,"2. motor geri calisti. "), 100);
	  HAL_GPIO_WritePin(GPIOD, GPIO_PIN_13, GPIO_PIN_RESET);

	  geri_motor2(85);

  }

  if(HAL_GPIO_ReadPin(GPIOE, GPIO_PIN_6)==GPIO_PIN_SET)
  {

	  HAL_UART_Transmit(&huart3, (uint8_t*)tx_buffer, sprintf(tx_buffer,"1. ve 2. motorlar durduruldu. "), 100);

	  dur_motor1();
	  dur_motor2();

  }

    osDelay(1);
  }
  /* USER CODE END usbt_tx_rx_handlertask */
}

void canbussendata_handlertask(void const * argument)
{
  /* USER CODE BEGIN canbussendata_handlertask */
  /* Infinite loop */
	  HAL_CAN_Start(&hcan1);
	     // Enable interrupts
	  HAL_CAN_ActivateNotification(&hcan1, CAN_IT_RX_FIFO0_MSG_PENDING);

	    //Set Transmit Parameters
	   pTxHeader.DLC = 1; // GÖNDERECEĞİMİZ MESAJ KAÇ BYTE
	   pTxHeader.IDE = CAN_ID_EXT;
	   pTxHeader.RTR = CAN_RTR_DATA;
	   pTxHeader.ExtId = 0x1FBF9000;

	   // Set Filter Parameters
	   sFilterConfig.FilterActivation = ENABLE;
	   sFilterConfig.FilterBank =0;
	   sFilterConfig.FilterFIFOAssignment = CAN_FILTER_FIFO0;
	   sFilterConfig.FilterIdHigh=0x1FBF9000 >> 13; // 0x1FBF9000 0x1FBF9FFF
	   sFilterConfig.FilterIdLow=0x0000;
	   sFilterConfig.FilterMaskIdHigh=0xFFFFF000 >> 13;
	   sFilterConfig.FilterMaskIdLow=0x0000;
	   sFilterConfig.FilterMode=CAN_FILTERMODE_IDMASK;
	   sFilterConfig.FilterScale=CAN_FILTERSCALE_32BIT;
	   HAL_CAN_ConfigFilter(&hcan1, &sFilterConfig);

  for(;;)
  {
	  HAL_CAN_AddTxMessage(&hcan1, &pTxHeader, &count,&pTxMailbox);
    osDelay(1);
  }
  /* USER CODE END canbussendata_handlertask */
}

void ethernet_handler(void const * argument)
{
  /* USER CODE BEGIN ethernet_handler */
  /* Infinite loop */
  for(;;)
  {
	  //MX_LWIP_Process();

    osDelay(1);
  }
  /* USER CODE END ethernet_handler */
}

 /**
  * @brief  Period elapsed callback in non blocking mode
  * @note   This function is called  when TIM5 interrupt took place, inside
  * HAL_TIM_IRQHandler(). It makes a direct call to HAL_IncTick() to increment
  * a global variable "uwTick" used as application time base.
  * @param  htim : TIM handle
  * @retval None
  */
void HAL_TIM_PeriodElapsedCallback(TIM_HandleTypeDef *htim)
{
  if (htim->Instance == TIM5) {
    HAL_IncTick();
  }
}

void Error_Handler(void)
{
}

/************************ (C) COPYRIGHT STMicroelectronics *****END OF FILE****/
